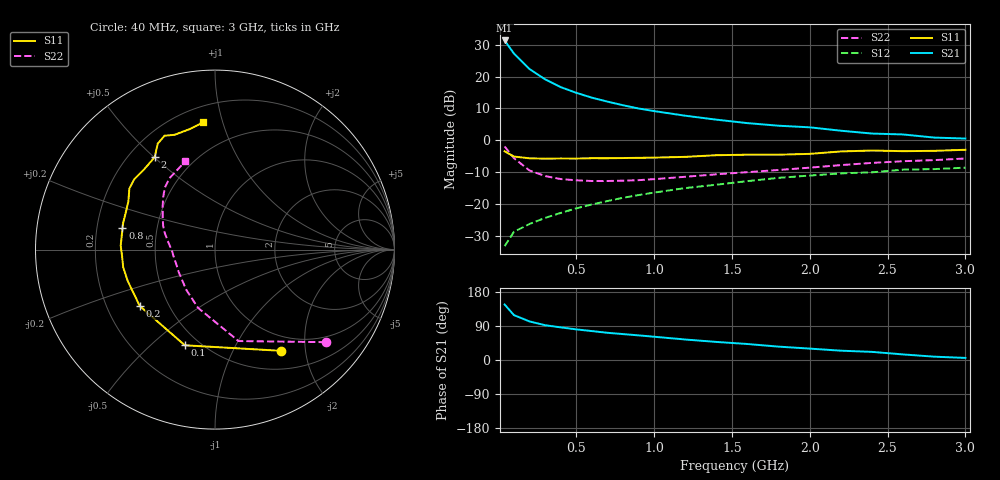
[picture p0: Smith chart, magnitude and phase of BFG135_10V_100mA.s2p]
! Filename:  BFG135E.S2P  Version:  2.0
! Philips part #: BFG135  Date: Jul 1990
! Bias condition: Vce=10V, Ic=100mA
#  MHz  S  MA  R  50
! Freq  S11  S21  S12  S22  !GUM [dB]
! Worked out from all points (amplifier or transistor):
!   21 points, 40 MHz to 3 GHz, reference 50 ohm
!   highest |S21| = 31.3 dB at 40 MHz (marker M1)
!   |S21| within 3 dB of that: start of sweep to 83.84 MHz
!   unconditionally stable (mu >= 1): 523.9 MHz to end of sweep
!   at 300 MHz: K = 0.84, MSG = 21.7 dB, |S12| = -24.3 dB
!   at 1 GHz: K = 1.09, MAG = 10.9 dB, |S12| = -16.4 dB
!   at 3 GHz: K = 1.00, MAG = 4.2 dB, |S12| = -8.5 dB
!   S11 on the Smith chart (normalised r, x): 40 MHz: 0.76, -1.58; 100 MHz: 0.42, -0.65; 200 MHz: 0.34, -0.30; 800 MHz: 0.31, +0.10; 2 GHz: 0.30, +0.50; 3 GHz: 0.30, +0.87
40  0.674 -56.8  36.83 146.5  0.022 65.7  0.804 -39.9
100  0.559 -107.5  22.95 118.4  0.037 52.1  0.526 -75.6
200  0.524 -143.2  13.11 101.8  0.049 50.1  0.338 -106.2
300  0.517 -160.5  9.061 91.8  0.061 52.5  0.276 -125.2
400  0.521 -169.1  6.841 86.1  0.073 57.0  0.248 -138.7
500  0.519 -176.2  5.572 80.8  0.086 59.1  0.237 -149.1
600  0.526 177.5  4.675 76.4  0.099 60.1  0.231 -157.4
700  0.525 172.0  4.056 71.8  0.112 60.0  0.231 -164.2
800  0.529 167.0  3.559 68.4  0.126 61.0  0.234 -170.7
900  0.533 163.6  3.165 65.0  0.139 61.0  0.238 -176.8
1000  0.537 158.4  2.88 61.4  0.152 60.8  0.247 178.0
1200  0.552 151.0  2.438 54.1  0.179 59.1  0.269 169.1
1400  0.586 144.5  2.114 47.7  0.202 57.1  0.294 161.9
1600  0.597 138.8  1.865 42.2  0.23 56.4  0.318 155.3
1800  0.597 131.1  1.699 35.3  0.259 52.3  0.344 148.0
2000  0.615 123.1  1.603 30.1  0.281 49.8  0.374 141.3
2200  0.671 118.4  1.418 24.6  0.304 47.1  0.41 134.8
2400  0.694 113.9  1.28 21.4  0.316 46.1  0.444 129.0
2600  0.678 109.4  1.239 14.7  0.348 41.8  0.472 122.5
2800  0.686 101.9  1.107 8.8  0.355 36.6  0.491 115.3
3000  0.713 95.2  1.069 5.5  0.374 34.9  0.521 108.4
